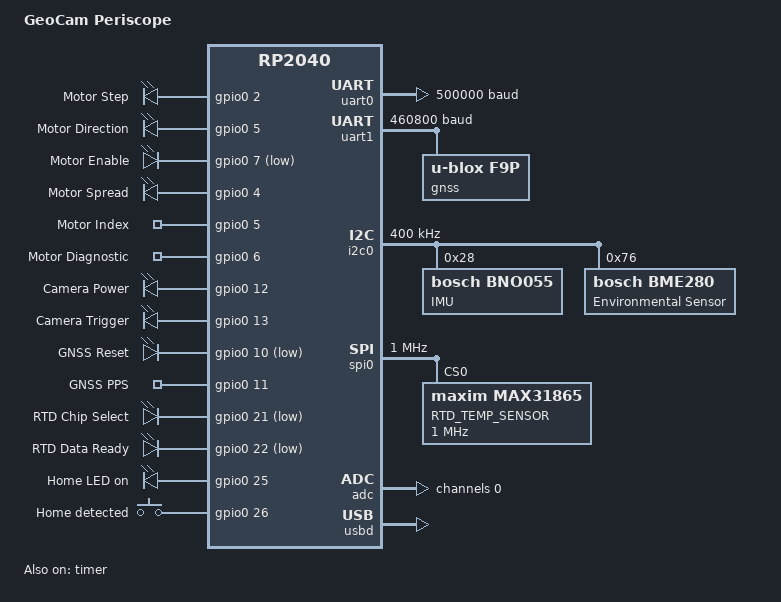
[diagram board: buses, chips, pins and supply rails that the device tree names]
/dts-v1/;
#include <raspberrypi/rpi_pico/rp2040.dtsi>
#include "gc_periscope-pinctrl.dtsi"

/ {
	model = "GeoCam Periscope";
	compatible = "geocam,gc_periscope";

	chosen {
		zephyr,sram = &sram0;
		zephyr,flash = &flash0;
		zephyr,flash-controller = &ssi;
		zephyr,console = &cdc_acm_uart0;
		zephyr,shell-uart = &uart0;
		zephyr,code-partition = &code_partition;
	};

	aliases {
		/* UART aliases */
		motor-uart = &uart0;            /* Motor Driver on GP0/GP1 */
		gnss-uart = &uart1;             /* GNSS on GP8/GP9 */
		console-uart = &uart0;          /* Can share with motor */

		/* I2C alias */
		sensor-i2c = &i2c0;             /* Sensors on GP16/GP17 */

		/* SPI alias for RTD temperature sensor */
		rtd-spi = &spi0;
	};


	/* GPIO configuration for motor driver */
	motor_control {
		compatible = "gpio-leds";

		motor_step: motor_step {
			gpios = <&gpio0 2 GPIO_ACTIVE_HIGH>;    /* STEP */
			label = "Motor Step";
		};

		motor_dir: motor_dir {
			gpios = <&gpio0 5 GPIO_ACTIVE_HIGH>;     /* DIR */
			label = "Motor Direction";
		};

		motor_enable: motor_enable {
			gpios = <&gpio0 7 GPIO_ACTIVE_LOW>;      /* Enable (active low) */
			label = "Motor Enable";
		};

		motor_spread: motor_spread {
			gpios = <&gpio0 4 GPIO_ACTIVE_HIGH>;     /* SPREAD */
			label = "Motor Spread";
		};
	};

	motor_inputs {
		compatible = "gpio-keys";

		motor_index: motor_index {
			gpios = <&gpio0 5 GPIO_ACTIVE_HIGH>;    /* INDEX */
			label = "Motor Index";
		};

		motor_diagnostic: motor_diagnostic {
			gpios = <&gpio0 6 GPIO_ACTIVE_HIGH>;    /* DIAGNOSTIC */
			label = "Motor Diagnostic";
		};
	};

	/* Camera/sensor controls */
	camera_control {
		compatible = "gpio-leds";

		cam_power: cam_power {
			gpios = <&gpio0 12 GPIO_ACTIVE_HIGH>;    /* CAM_PWR */
			label = "Camera Power";
		};

		cam_trigger: cam_trigger {
			gpios = <&gpio0 13 GPIO_ACTIVE_HIGH>;    /* CAM_TRIGGER */
			label = "Camera Trigger";
		};
	};

	gnss_control {
		compatible = "gpio-leds";

		gnss_reset: gnss_reset {
			gpios = <&gpio0 10 GPIO_ACTIVE_LOW>;     /* GNSS_RST */
			label = "GNSS Reset";
		};
	};

	gnss_inputs {
		compatible = "gpio-keys";

		gnss_pps: gnss_pps {
			gpios = <&gpio0 11 GPIO_ACTIVE_HIGH>;    /* GNSS_PPS */
			label = "GNSS PPS";
		};
	};

	/* RTD temperature sensor controls */
	rtd_control {
		compatible = "gpio-leds";

		rtd_cs: rtd_cs {
			gpios = <&gpio0 21 GPIO_ACTIVE_LOW>;     /* RTD_CS (GP35) */
			label = "RTD Chip Select";
		};

		rtd_drdy: rtd_drdy {
			gpios = <&gpio0 22 GPIO_ACTIVE_LOW>;     /* RTD_DRDY (GP36) */
			label = "RTD Data Ready";
		};
	};

	home_control {
		compatible = "gpio-leds";

		home_on: home_on {
			gpios = <&gpio0 25 GPIO_ACTIVE_HIGH>;     /* RTD_CS (GP35) */
			label = "Home LED on";
		};
	};

	home_inputs {
		compatible = "gpio-keys";

		home_det: home_det {
			gpios = <&gpio0 26 GPIO_ACTIVE_HIGH>;
			label = "Home detected";
		};
	};
};

&clk_sys {
	clock-frequency = <125000000>;  /* 125 MHz */
};

&flash0 {
	reg = <0x10000000 DT_SIZE_M(2)>;

	partitions {
		compatible = "fixed-partitions";
		#address-cells = <1>;
		#size-cells = <1>;

		/* Reserved memory for the second stage bootloader */
		second_stage_bootloader: partition@0 {
			label = "second_stage_bootloader";
			reg = <0x00000000 0x100>;
			read-only;
		};

		/*
		 * Usable flash. Starts at 0x100, after the bootloader. The partition
		 * size is 2MB minus the 0x100 bytes taken by the bootloader.
		 */
		code_partition: partition@100 {
			label = "code-partition";
			reg = <0x100 (DT_SIZE_M(2) - 0x100)>;
			read-only;
		};
	};
};

/* Motor Driver UART (GP0 TX, GP1 RX) */
&uart0 {
	status = "okay";
	current-speed = <500000>;           /* Adjust for Trinamic requirements */
	pinctrl-0 = <&uart0_default>;
	pinctrl-names = "default";
	label = "MOTOR_UART";
};

/* GNSS UART (GP8 TX, GP19 RX) */
&uart1 {
	status = "okay";
//	current-speed = <38400>;             /* Typical GNSS baud rate */
	current-speed = <460800>;             /* Typical GNSS baud rate */
	pinctrl-0 = <&uart1_default>;
	pinctrl-names = "default";
	label = "GNSS_UART";
	gnss: u_blox_f9 {
		compatible = "u-blox,f9p";
		status = "okay";
	};
};

/* I2C for sensors (GP17 SDA, GP16 SCL) */
&i2c0 {
	status = "okay";
	clock-frequency = <I2C_BITRATE_FAST>;
	pinctrl-0 = <&i2c0_default>;
	pinctrl-names = "default";
	label = "SENSOR_I2C";

	imu: imu@28 {
		compatible = "bosch,bno055";
		reg = <0x28>;
		label = "IMU";
	};

	env: env@76 {
		compatible = "bosch,bme280";
		reg = <0x76>;
		label = "Environmental Sensor";
	};
};

/* SPI for RTD temperature sensor (GP18 SCLK, GP19 SDI, GP20 SDO) */
&spi0 {
	status = "okay";
	clock-frequency = <1000000>;        /* 1 MHz for RTD */
	pinctrl-0 = <&spi0_default>;
	pinctrl-names = "default";
	label = "RTD_SPI";

	/* RTD temperature sensor device */
	rtd_sensor: rtd@0 {
		compatible = "maxim,max31865";   /* Example RTD-to-digital converter */
		reg = <0>;                      /* CS index */
		spi-max-frequency = <1000000>;
		label = "RTD_TEMP_SENSOR";

		/* Required properties for MAX31865 */
		resistance-at-zero = <100>;     /* 100Ω for PT100, 1000 for PT1000 */
		resistance-reference = <430>;   /* Reference resistor value in Ω */
		filter-50hz;                   /* Use 50Hz filter (remove for 60Hz) */
	};
};

/* ADC for analog sensors */
&adc {
	status = "okay";
	#address-cells = <1>;
	#size-cells = <0>;

	channel@0 {
		reg = <0>;
		zephyr,gain = "ADC_GAIN_1";
		zephyr,reference = "ADC_REF_INTERNAL";
		zephyr,acquisition-time = <ADC_ACQ_TIME_DEFAULT>;
		zephyr,resolution = <12>;
	};
};

&gpio0 {
	status = "okay";
};

&timer {
	status = "okay";
//	counter-mode = "external-clock";
};

&pio0 {
	status = "okay";
};


zephyr_udc0: &usbd {
	status = "okay";
	cdc_acm_uart0: cdc_acm_uart0 {
		compatible = "zephyr,cdc-acm-uart";
		label = "CONSOLE";
	};

	cdc_acm_uart1: cdc_acm_uart1 {
		compatible = "zephyr,cdc-acm-uart";
		label = "DATA";
	};
};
